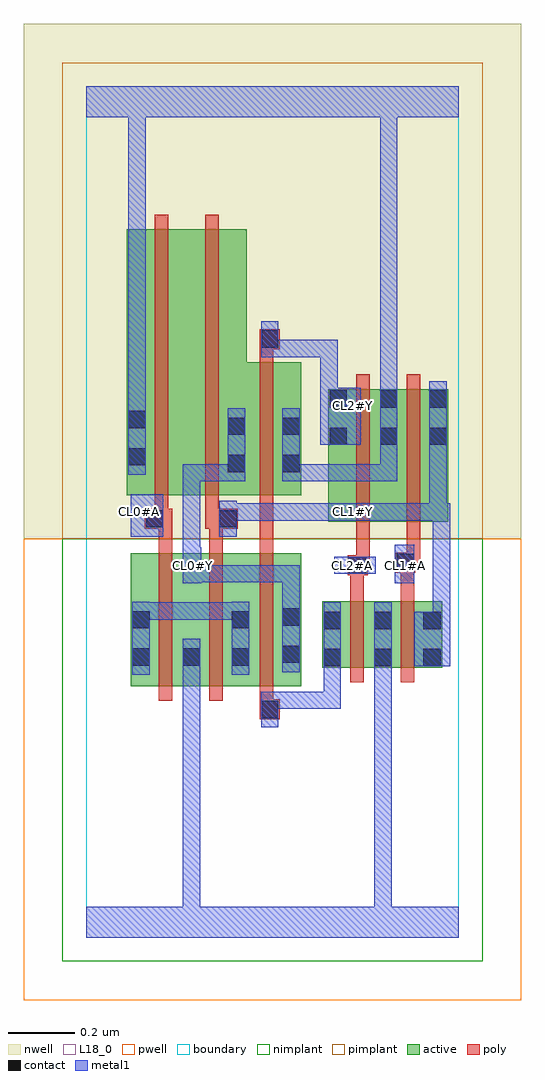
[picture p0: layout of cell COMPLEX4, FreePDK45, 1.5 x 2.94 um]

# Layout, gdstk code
import gdstk
lib = gdstk.Library(unit=1e-6, precision=1e-09)
def R(c, l, rs):  # rectangles x0, y0, x1, y1
    for r in rs: c.add(gdstk.rectangle(r[:2], r[2:], *l))
def A(c, l, x, y, w, h, nx, ny, dx, dy):  # array of equal rectangles
    R(c, l, [(x+i*dx, y+j*dy, x+i*dx+w, y+j*dy+h) for i in range(nx) for j in range(ny)])
active = (1, 0)
pwell = (2, 0)
nwell = (3, 0)
nimplant = (4, 0)
pimplant = (5, 0)
poly = (9, 0)
contact = (10, 0)
metal1 = (11, 0)
L18_0 = (18, 0)
boundary = (235, 0)

complex4 = lib.new_cell('COMPLEX4')
R(complex4, active, [(0.134,0.756,0.194,1.156), (0.134,0.756,0.346,1.156), (0.286,0.756,0.494,1.156), (0.286,0.756,0.346,0.996), (0.434,0.756,0.646,1.156), (0.434,0.756,0.494,1.078), (0.586,0.756,0.646,1.156), (0.71,0.812,0.77,1.012), (0.71,0.812,0.922,1.012), (0.862,0.812,0.922,1.012), (0.862,0.812,1.07,1.012), (1.01,0.812,1.07,1.012), (0.728,1.25,0.788,1.65), (0.728,1.25,0.94,1.65), (0.88,1.25,1.088,1.65), (1.028,1.25,1.088,1.65), (0.122,1.33,0.302,2.13), (0.122,1.33,0.182,2.044), (0.302,1.33,0.482,2.13), (0.422,1.33,0.646,1.73), (0.422,1.33,0.482,2.13), (0.586,1.33,0.646,1.73), (0.88,1.388,0.94,1.65)])
R(complex4, pwell, [(-0.188,-0.188,1.308,1.2)])
R(complex4, nwell, [(-0.188,1.2,1.308,2.748)])
R(complex4, nimplant, [(-0.072,-0.072,1.192,1.2)])
R(complex4, pimplant, [(-0.072,1.2,1.192,2.632)])
A(complex4, poly, 0.218, 0.712, 0.04, 0.488, 3, 1, 0.152, 0)
R(complex4, poly, [(0.522,0.656,0.582,0.716), (0.522,0.676,0.562,0.752), (0.794,0.768,0.834,1.056), (0.946,0.768,0.986,1.056), (0.794,1.016,0.834,1.13), (0.946,1.016,0.986,1.138), (0.786,1.09,0.846,1.15), (0.93,1.098,0.99,1.158), (0.806,1.11,0.846,1.15), (0.806,1.11,0.852,1.15), (0.812,1.11,0.852,1.246), (0.95,1.118,0.99,1.158), (0.95,1.118,1.004,1.158), (0.964,1.118,1.004,1.246), (0.218,1.16,0.258,1.27), (0.37,1.16,0.41,1.27), (0.522,1.16,0.562,1.236), (0.522,1.196,0.562,1.236), (0.522,1.196,0.562,1.236), (0.522,1.196,0.562,1.236), (0.522,1.196,0.562,1.326), (0.812,1.206,0.852,1.694), (0.964,1.206,1.004,1.694), (0.176,1.23,0.258,1.29), (0.358,1.23,0.456,1.29), (0.37,1.23,0.41,1.27), (0.37,1.23,0.41,1.27), (0.206,1.25,0.246,1.29), (0.206,1.25,0.246,1.29), (0.206,1.25,0.246,1.326), (0.358,1.25,0.398,1.326), (0.206,1.286,0.246,2.174), (0.358,1.286,0.398,2.174), (0.522,1.286,0.562,1.774), (0.522,1.734,0.562,1.81), (0.522,1.77,0.582,1.83)])
R(complex4, contact, [(0.526,0.66,0.578,0.712), (0.714,0.816,0.766,0.868), (0.866,0.816,0.918,0.868), (1.014,0.816,1.066,0.868), (0.138,0.818,0.19,0.87), (0.29,0.818,0.342,0.87), (0.438,0.818,0.49,0.87), (0.59,0.826,0.642,0.878), (0.714,0.928,0.766,0.98), (0.866,0.928,0.918,0.98), (1.014,0.928,1.066,0.98), (0.138,0.93,0.19,0.982), (0.438,0.93,0.49,0.982), (0.59,0.938,0.642,0.99), (0.79,1.094,0.842,1.146), (0.934,1.102,0.986,1.154), (0.18,1.234,0.232,1.286), (0.4,1.234,0.452,1.286), (0.426,1.4,0.478,1.452), (0.59,1.4,0.642,1.452), (0.126,1.42,0.178,1.472), (0.732,1.482,0.784,1.534), (0.884,1.482,0.936,1.534), (1.032,1.482,1.084,1.534), (0.426,1.512,0.478,1.564), (0.59,1.512,0.642,1.564), (0.126,1.532,0.178,1.584), (0.732,1.594,0.784,1.646), (0.884,1.594,0.936,1.646), (1.032,1.594,1.084,1.646), (0.526,1.774,0.578,1.826)])
R(complex4, metal1, [(0,0,1.12,0.092), (0.29,0.04,0.342,0.092), (0.29,0.04,0.342,0.092), (0.29,0.04,0.342,0.092), (0.29,0.04,0.342,0.092), (0.29,0.04,0.342,0.092), (0.29,0.04,0.342,0.092), (0.29,0.04,0.342,0.092), (0.29,0.04,0.342,0.092), (0.29,0.04,0.342,0.842), (0.866,0.04,0.918,0.092), (0.866,0.04,0.918,0.092), (0.866,0.04,0.918,0.092), (0.866,0.04,0.918,0.092), (0.866,0.04,0.918,0.092), (0.866,0.04,0.918,0.092), (0.866,0.04,0.918,0.092), (0.866,0.04,0.918,0.092), (0.866,0.04,0.918,0.092), (0.866,0.04,0.918,0.092), (0.866,0.04,0.918,0.092), (0.866,0.04,0.918,0.092), (0.866,0.04,0.918,0.84), (0.526,0.632,0.578,0.74), (0.526,0.688,0.578,0.74), (0.526,0.688,0.578,0.74), (0.526,0.688,0.766,0.74), (0.714,0.688,0.766,0.74), (0.714,0.688,0.766,0.84), (0.714,0.788,0.766,1.008), (0.714,0.788,0.766,0.84), (0.714,0.788,0.766,0.84), (0.714,0.788,0.766,0.84), (0.714,0.788,0.766,0.84), (0.866,0.788,0.918,1.008), (0.866,0.788,0.918,0.84), (0.866,0.788,0.918,0.84), (0.866,0.788,0.918,0.84), (0.866,0.788,0.918,0.84), (0.138,0.79,0.19,1.01), (0.29,0.79,0.342,0.842), (0.29,0.79,0.342,0.842), (0.29,0.79,0.342,0.842), (0.29,0.79,0.342,0.842), (0.29,0.79,0.342,0.898), (0.438,0.79,0.49,1.01), (0.59,0.798,0.642,1.018), (0.986,0.816,1.094,0.98), (1.042,0.928,1.094,1.306), (0.138,0.956,0.19,1.008), (0.138,0.956,0.19,1.008), (0.138,0.956,0.342,1.008), (0.29,0.956,0.342,1.008), (0.29,0.956,0.342,1.008), (0.29,0.956,0.342,1.008), (0.29,0.956,0.49,1.008), (0.59,0.966,0.642,1.12), (0.29,1.066,0.346,1.174), (0.928,1.066,0.986,1.182), (0.294,1.068,0.346,1.12), (0.294,1.068,0.346,1.12), (0.294,1.068,0.456,1.12), (0.404,1.068,0.456,1.12), (0.404,1.068,0.578,1.12), (0.526,1.068,0.578,1.12), (0.526,1.068,0.642,1.12), (0.59,1.068,0.642,1.12), (0.746,1.094,0.87,1.146), (0.29,1.122,0.342,1.174), (0.29,1.122,0.342,1.174), (0.29,1.122,0.342,1.424), (0.134,1.206,0.232,1.334), (0.4,1.206,0.452,1.314), (0.4,1.254,0.456,1.306), (0.404,1.254,0.456,1.306), (0.404,1.254,0.562,1.306), (0.51,1.254,0.562,1.306), (0.51,1.254,0.688,1.306), (0.636,1.254,0.688,1.306), (0.636,1.254,0.688,1.306), (0.636,1.254,0.688,1.306), (0.636,1.254,0.798,1.306), (0.746,1.254,0.798,1.306), (0.746,1.254,0.798,1.306), (0.746,1.254,0.854,1.306), (0.802,1.254,1.084,1.306), (1.032,1.254,1.084,1.506), (1.032,1.254,1.084,1.306), (1.032,1.254,1.084,1.306), (1.032,1.254,1.094,1.306), (1.042,1.254,1.094,1.306), (1.042,1.254,1.094,1.306), (0.29,1.372,0.342,1.424), (0.29,1.372,0.342,1.424), (0.29,1.372,0.342,1.424), (0.29,1.372,0.478,1.424), (0.426,1.372,0.478,1.592), (0.59,1.372,0.642,1.592), (0.59,1.372,0.688,1.424), (0.636,1.372,0.688,1.424), (0.636,1.372,0.866,1.424), (0.814,1.372,0.866,1.424), (0.814,1.372,0.936,1.424), (0.884,1.372,0.936,1.424), (0.884,1.372,0.936,1.424), (0.884,1.372,0.936,1.424), (0.884,1.372,0.936,1.506), (0.126,1.392,0.178,1.612), (0.884,1.454,0.936,1.674), (0.884,1.454,0.936,1.506), (0.884,1.454,0.936,1.506), (1.032,1.454,1.084,1.674), (0.704,1.482,0.826,1.654), (0.126,1.56,0.178,1.612), (0.126,1.56,0.178,1.612), (0.126,1.56,0.178,1.612), (0.126,1.56,0.178,1.612), (0.126,1.56,0.178,2.52), (0.704,1.602,0.756,1.798), (0.884,1.622,0.936,1.674), (0.884,1.622,0.936,1.674), (0.884,1.622,0.936,1.674), (0.884,1.622,0.936,1.674), (0.884,1.622,0.936,1.674), (0.884,1.622,0.936,1.674), (0.884,1.622,0.936,1.674), (0.884,1.622,0.936,1.674), (0.884,1.622,0.936,1.674), (0.884,1.622,0.936,1.674), (0.884,1.622,0.936,1.674), (0.884,1.622,0.936,1.674), (0.884,1.622,0.936,2.52), (0.526,1.746,0.578,1.798), (0.526,1.746,0.578,1.798), (0.526,1.746,0.756,1.798), (0.526,1.746,0.578,1.854), (0.704,1.746,0.756,1.798), (0,2.468,1.12,2.56), (0.126,2.468,0.178,2.52), (0.126,2.468,0.178,2.52), (0.126,2.468,0.178,2.52), (0.126,2.468,0.178,2.52), (0.884,2.468,0.936,2.52), (0.884,2.468,0.936,2.52), (0.884,2.468,0.936,2.52), (0.884,2.468,0.936,2.52)])
R(complex4, L18_0, [(0,0,1.12,0.092), (0.29,0.04,0.342,0.092), (0.29,0.04,0.342,0.092), (0.29,0.04,0.342,0.092), (0.29,0.04,0.342,0.092), (0.29,0.04,0.342,0.092), (0.29,0.04,0.342,0.092), (0.29,0.04,0.342,0.092), (0.29,0.04,0.342,0.092), (0.29,0.04,0.342,0.842), (0.866,0.04,0.918,0.092), (0.866,0.04,0.918,0.092), (0.866,0.04,0.918,0.092), (0.866,0.04,0.918,0.092), (0.866,0.04,0.918,0.092), (0.866,0.04,0.918,0.092), (0.866,0.04,0.918,0.092), (0.866,0.04,0.918,0.092), (0.866,0.04,0.918,0.092), (0.866,0.04,0.918,0.092), (0.866,0.04,0.918,0.092), (0.866,0.04,0.918,0.092), (0.866,0.04,0.918,0.84), (0.526,0.632,0.578,0.74), (0.526,0.688,0.578,0.74), (0.526,0.688,0.578,0.74), (0.526,0.688,0.766,0.74), (0.714,0.688,0.766,0.74), (0.714,0.688,0.766,0.84), (0.714,0.788,0.766,1.008), (0.714,0.788,0.766,0.84), (0.714,0.788,0.766,0.84), (0.714,0.788,0.766,0.84), (0.714,0.788,0.766,0.84), (0.866,0.788,0.918,1.008), (0.866,0.788,0.918,0.84), (0.866,0.788,0.918,0.84), (0.866,0.788,0.918,0.84), (0.866,0.788,0.918,0.84), (0.29,0.79,0.342,0.842), (0.29,0.79,0.342,0.842), (0.29,0.79,0.342,0.842), (0.29,0.79,0.342,0.842), (0.29,0.79,0.342,0.898), (0.59,0.798,0.642,1.018), (0.986,0.816,1.094,0.98), (1.042,0.928,1.094,1.306), (0.59,0.966,0.642,1.12), (0.29,1.066,0.346,1.174), (0.928,1.066,0.986,1.182), (0.294,1.068,0.346,1.12), (0.294,1.068,0.346,1.12), (0.294,1.068,0.456,1.12), (0.404,1.068,0.456,1.12), (0.404,1.068,0.578,1.12), (0.526,1.068,0.578,1.12), (0.526,1.068,0.642,1.12), (0.59,1.068,0.642,1.12), (0.294,1.094,0.346,1.146), (0.746,1.094,0.87,1.146), (0.774,1.094,0.826,1.146), (0.934,1.094,0.986,1.146), (0.29,1.122,0.342,1.174), (0.29,1.122,0.342,1.174), (0.29,1.122,0.342,1.424), (0.134,1.206,0.232,1.334), (0.4,1.206,0.452,1.314), (0.134,1.254,0.186,1.306), (0.4,1.254,0.456,1.306), (0.404,1.254,0.456,1.306), (0.404,1.254,0.562,1.306), (0.51,1.254,0.562,1.306), (0.51,1.254,0.688,1.306), (0.636,1.254,0.688,1.306), (0.636,1.254,0.688,1.306), (0.636,1.254,0.688,1.306), (0.636,1.254,0.798,1.306), (0.746,1.254,0.798,1.306), (0.746,1.254,0.798,1.306), (0.746,1.254,0.854,1.306), (0.774,1.254,0.826,1.306), (0.802,1.254,1.084,1.306), (1.032,1.254,1.084,1.306), (1.032,1.254,1.084,1.306), (1.032,1.254,1.094,1.306), (1.032,1.254,1.084,1.506), (1.042,1.254,1.094,1.306), (1.042,1.254,1.094,1.306), (0.29,1.372,0.342,1.424), (0.29,1.372,0.342,1.424), (0.29,1.372,0.342,1.424), (0.29,1.372,0.478,1.424), (0.426,1.372,0.478,1.592), (0.59,1.372,0.642,1.592), (0.59,1.372,0.688,1.424), (0.636,1.372,0.688,1.424), (0.636,1.372,0.866,1.424), (0.814,1.372,0.866,1.424), (0.814,1.372,0.936,1.424), (0.884,1.372,0.936,1.424), (0.884,1.372,0.936,1.424), (0.884,1.372,0.936,1.424), (0.884,1.372,0.936,1.506), (0.126,1.392,0.178,1.612), (0.884,1.454,0.936,1.674), (0.884,1.454,0.936,1.506), (0.884,1.454,0.936,1.506), (1.032,1.454,1.084,1.674), (0.704,1.482,0.826,1.654), (0.126,1.56,0.178,1.612), (0.126,1.56,0.178,1.612), (0.126,1.56,0.178,1.612), (0.126,1.56,0.178,1.612), (0.126,1.56,0.178,2.52), (0.774,1.574,0.826,1.626), (0.704,1.602,0.756,1.798), (0.884,1.622,0.936,1.674), (0.884,1.622,0.936,1.674), (0.884,1.622,0.936,1.674), (0.884,1.622,0.936,1.674), (0.884,1.622,0.936,1.674), (0.884,1.622,0.936,1.674), (0.884,1.622,0.936,1.674), (0.884,1.622,0.936,1.674), (0.884,1.622,0.936,1.674), (0.884,1.622,0.936,1.674), (0.884,1.622,0.936,1.674), (0.884,1.622,0.936,1.674), (0.884,1.622,0.936,2.52), (0.526,1.746,0.578,1.798), (0.526,1.746,0.578,1.798), (0.526,1.746,0.578,1.854), (0.526,1.746,0.756,1.798), (0.704,1.746,0.756,1.798), (0,2.468,1.12,2.56), (0.126,2.468,0.178,2.52), (0.126,2.468,0.178,2.52), (0.126,2.468,0.178,2.52), (0.126,2.468,0.178,2.52), (0.884,2.468,0.936,2.52), (0.884,2.468,0.936,2.52), (0.884,2.468,0.936,2.52), (0.884,2.468,0.936,2.52)])
R(complex4, boundary, [(0,0,1.12,2.56)])
complex4.add(gdstk.Label('CL0#A', (0.16,1.28), layer=11, texttype=0))
complex4.add(gdstk.Label('CL0#Y', (0.32,1.12), layer=11, texttype=0))
complex4.add(gdstk.Label('CL1#A', (0.96,1.12), layer=11, texttype=0))
complex4.add(gdstk.Label('CL1#Y', (0.8,1.28), layer=11, texttype=0))
complex4.add(gdstk.Label('CL2#A', (0.8,1.12), layer=11, texttype=0))
complex4.add(gdstk.Label('CL2#Y', (0.8,1.6), layer=11, texttype=0))

lib.write_gds('COMPLEX4.gds')
